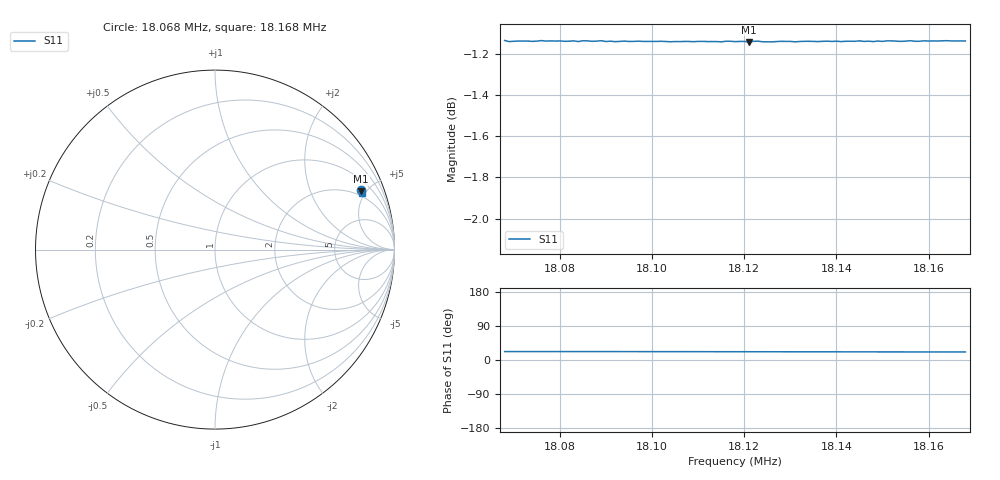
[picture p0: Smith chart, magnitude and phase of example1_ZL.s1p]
# HZ S RI R 50
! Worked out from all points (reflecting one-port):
!   101 points, 18.068 MHz to 18.168 MHz, reference 50 ohm
!   lowest |S11| = -1.1 dB at 18.121 MHz (marker M1), VSWR 15.23, Z = 82.1 + j231 ohm
!   phase of S11 starts at 22 deg and turns -1 deg over the sweep
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1.8068e7  0.8119 0.333
1.8069e7  0.8114 0.3329
1.8071e7  0.8115 0.3332
1.8074e7  0.8114 0.333
1.8076e7  0.8118 0.3332
1.8081e7  0.8117 0.3324
1.8083e7  0.812 0.3322
1.8084e7  0.8118 0.332
1.8085e7  0.8122 0.332
1.8087e7  0.8121 0.3316
1.8089e7  0.8125 0.3314
1.809e7  0.8121 0.3313
1.8093e7  0.8123 0.3309
1.8106e7  0.8131 0.3287
1.8118e7  0.814 0.3265
1.812e7  0.8142 0.3261
1.8121e7  0.814 0.3259
1.8123e7  0.8146 0.3256
1.8124e7  0.8143 0.3253
1.8131e7  0.8149 0.324
1.8143e7  0.8161 0.3216
1.8145e7  0.8164 0.3212
1.8148e7  0.8163 0.3205
1.8151e7  0.817 0.32
1.8154e7  0.8169 0.3193
1.8156e7  0.8174 0.319
1.8158e7  0.8173 0.3185
1.8168e7  0.8183 0.3164
